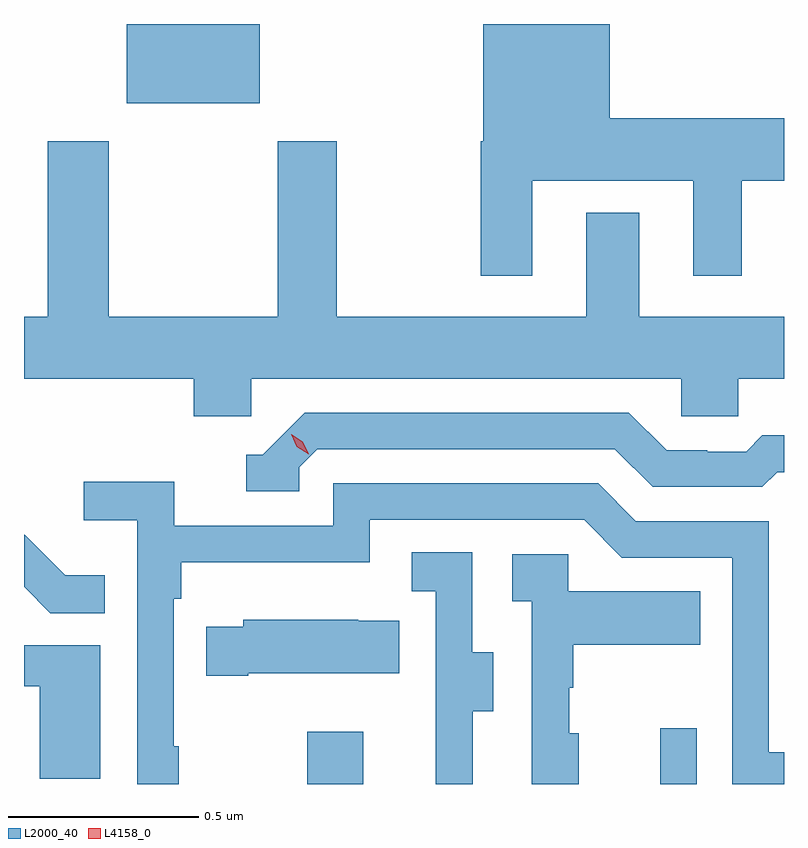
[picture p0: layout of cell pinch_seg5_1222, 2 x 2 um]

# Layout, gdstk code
import gdstk
lib = gdstk.Library(unit=1e-6, precision=1e-09)
def R(c, l, rs):  # rectangles x0, y0, x1, y1
    for r in rs: c.add(gdstk.rectangle(r[:2], r[2:], *l))
def P(c, l, *ps):  # polygons
    for p in ps: c.add(gdstk.Polygon(p, *l))
L2000_40 = (2000, 40)
L4158_0 = (4158, 0)

pinch_seg5_1222 = lib.new_cell('pinch_seg5_1222')
R(pinch_seg5_1222, L2000_40, [(876.67,851.698,876.817,851.836), (877.598,851.698,877.695,851.845), (876.194,853.49,876.544,853.698)])
P(pinch_seg5_1222, L2000_40, [(877.261,853.286),(877.685,853.286),(877.685,853.035),(877.813,853.035),(877.813,853.286),(877.924,853.286),(877.924,853.45),(877.465,853.45),(877.465,853.698),(877.133,853.698),(877.133,853.39),(877.126,853.39),(877.126,853.035),(877.261,853.035)],
  [(876.522,852.764),(877.653,852.764),(877.653,852.666),(877.803,852.666),(877.803,852.764),(877.924,852.764),(877.924,852.928),(877.543,852.928),(877.543,853.201),(877.403,853.201),(877.403,852.928),(876.747,852.928),(876.747,853.39),(876.592,853.39),(876.592,852.928),(876.147,852.928),(876.147,853.39),(875.987,853.39),(875.987,852.928),(875.924,852.928),(875.924,852.764),(876.371,852.764),(876.371,852.666),(876.522,852.666)],
  [(876.648,852.531),(876.696,852.579),(877.479,852.579),(877.578,852.48),(877.867,852.48),(877.906,852.519),(877.924,852.519),(877.924,852.616),(877.867,852.616),(877.825,852.573),(877.722,852.573),(877.722,852.576),(877.615,852.576),(877.516,852.675),(876.663,852.675),(876.552,852.564),(876.509,852.564),(876.509,852.468),(876.648,852.468)],
  [(876.331,851.797),(876.318,851.797),(876.318,852.185),(876.338,852.185),(876.338,852.281),(876.834,852.281),(876.834,852.393),(877.398,852.393),(877.497,852.294),(877.788,852.294),(877.788,851.698),(877.924,851.698),(877.924,851.781),(877.884,851.781),(877.884,852.39),(877.534,852.39),(877.435,852.489),(876.738,852.489),(876.738,852.378),(876.32,852.378),(876.32,852.494),(876.081,852.494),(876.081,852.392),(876.222,852.392),(876.222,851.698),(876.331,851.698)],
  [(876.137,852.247),(876.033,852.247),(875.926,852.354),(875.924,852.354),(875.924,852.217),(875.993,852.148),(876.137,852.148)],
  [(877.105,851.89),(877.159,851.89),(877.159,852.045),(877.104,852.045),(877.104,852.308),(876.945,852.308),(876.945,852.205),(877.008,852.205),(877.008,851.901),(877.007,851.901),(877.007,851.698),(877.105,851.698)],
  [(877.384,851.832),(877.359,851.832),(877.359,851.951),(877.369,851.951),(877.369,852.065),(877.703,852.065),(877.703,852.205),(877.356,852.205),(877.356,852.303),(877.209,852.303),(877.209,852.179),(877.26,852.179),(877.26,851.698),(877.384,851.698)],
  [(876.514,851.99),(876.911,851.99),(876.911,852.127),(876.803,852.127),(876.803,852.13),(876.501,852.13),(876.501,852.112),(876.403,852.112),(876.403,851.983),(876.514,851.983)],
  [(876.124,852.063),(875.924,852.063),(875.924,851.955),(875.966,851.955),(875.966,851.712),(876.124,851.712)])
P(pinch_seg5_1222, L4158_0, [(876.673,852.566),(876.642,852.586),(876.627,852.618),(876.627,852.619),(876.627,852.619),(876.657,852.599),(876.673,852.566),(876.673,852.566)])

lib.write_gds('pinch_seg5_1222.gds')
